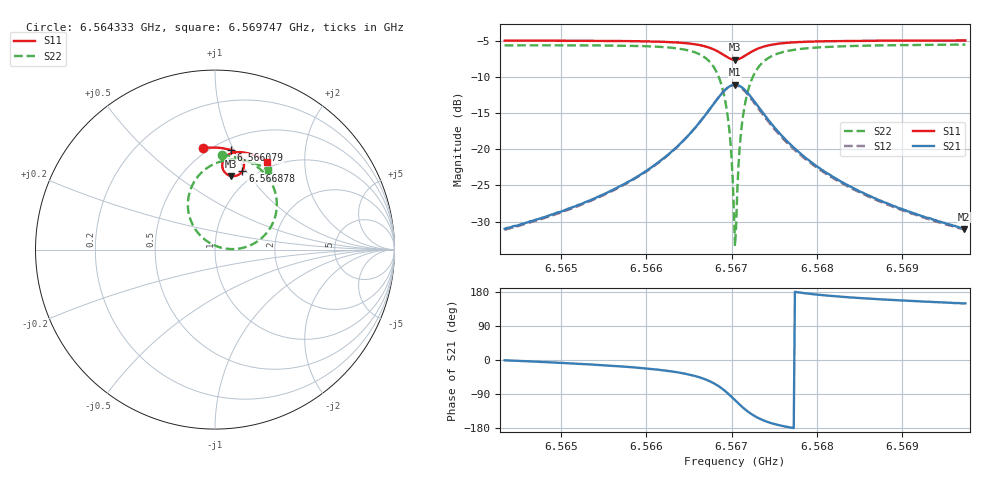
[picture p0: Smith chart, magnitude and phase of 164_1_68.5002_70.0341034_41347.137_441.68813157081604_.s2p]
#  HZ  S  RI  R  50.00
! Rohde & Schwarz Vector Network Analyzer
! Rohde-Schwarz,ZNB20-2Port,1311601062101988,3.16
! Created: UTC 3/20/2024, 4:55:54 PM
! freq[Hz]  re:S11  im:S11  re:S21  im:S21  re:S12  im:S12  re:S22  im:S22
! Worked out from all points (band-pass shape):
!   401 points, 6.564333 GHz to 6.569747 GHz, reference 50 ohm
!   highest |S21| = -11.00 dB at 6.56704 GHz (marker M1); lowest = -31.0 dB at 6.569734 GHz (marker M2)
!   |S21| within 3 dB of the highest: 6.566769 GHz to 6.567311 GHz (541.8 kHz wide, 0.00825 % of centre)
!   lowest |S11| = -7.5 dB at 6.56704 GHz (marker M3), VSWR 2.45, Z = 41.2 + j41 ohm
!   |S11| at or under -10 dB: nowhere
!   |S22| runs from -33.4 to -5.4 dB; largest |S21 - S12| = 0.013
!   S11 on the Smith chart (normalised r, x): 6.564333 GHz: 0.47, +0.78; 6.566079 GHz: 0.60, +0.97; 6.566878 GHz: 0.86, +0.96; 6.569747 GHz: 0.91, +1.32
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6.5643329e9  -0.0643 0.5656  0.0281 -0.00034  0.0277 -0.000838  0.0367 0.5268
6.5652398e9  0.00992 0.5679  0.0413 -0.00769  0.0407 -0.0083  0.1231 0.5133
6.566079e9  0.0885 0.5544  0.07 -0.0315  0.0688 -0.0322  0.2327 0.4631
6.5661466e9  0.0957 0.5519  0.0739 -0.0358  0.0725 -0.0366  0.2446 0.4543
6.5664444e9  0.1301 0.5325  0.0949 -0.0684  0.0934 -0.0697  0.3035 0.3898
6.566661e9  0.1553 0.5012  0.1087 -0.123  0.1061 -0.1255  0.3425 0.2839
6.5667828e9  0.1618 0.4698  0.1009 -0.1781  0.0964 -0.1813  0.3339 0.179
6.5668776e9  0.1527 0.4383  0.0678 -0.2322  0.06 -0.2352  0.2742 0.0777
6.5669588e9  0.1269 0.4148  0.00654 -0.2699  -0.00465 -0.2699  0.1615 0.0112
6.5669858e9  0.1145 0.4106  -0.0201 -0.2755  -0.0321 -0.2738  0.1129 0.00317
6.5670265e9  0.0945 0.4093  -0.0629 -0.2742  -0.0749 -0.2692  0.0367 0.01
6.56704e9  0.0877 0.4104  -0.0771 -0.2709  -0.0887 -0.2648  0.0122 0.0175
6.5670671e9  0.0749 0.4148  -0.1038 -0.2602  -0.1147 -0.2522  -0.0338 0.0396
6.5670941e9  0.0634 0.4219  -0.1278 -0.2449  -0.137 -0.2352  -0.0734 0.0702
6.5671347e9  0.0504 0.4361  -0.1556 -0.2156  -0.1621 -0.2044  -0.1173 0.1253
6.5671889e9  0.0415 0.4578  -0.1768 -0.1723  -0.1797 -0.1611  -0.1468 0.2037
6.5672566e9  0.0417 0.4831  -0.1826 -0.1228  -0.1823 -0.1129  -0.1478 0.2905
6.5675002e9  0.0788 0.5312  -0.1403 -0.0277  -0.1372 -0.0236  -0.0509 0.4499
6.5679469e9  0.1418 0.5431  -0.0802 0.00859  -0.0783 0.00971  0.0858 0.5004
6.5688538e9  0.2263 0.5225  -0.0388 0.0151  -0.0379 0.0153  0.216 0.4825
6.5697336e9  0.2914 0.4911  -0.0242 0.0142  -0.0238 0.0145  0.2935 0.4467
6.5697471e9  0.2924 0.4905  -0.0244 0.0144  -0.0237 0.0145  0.2944 0.4461
